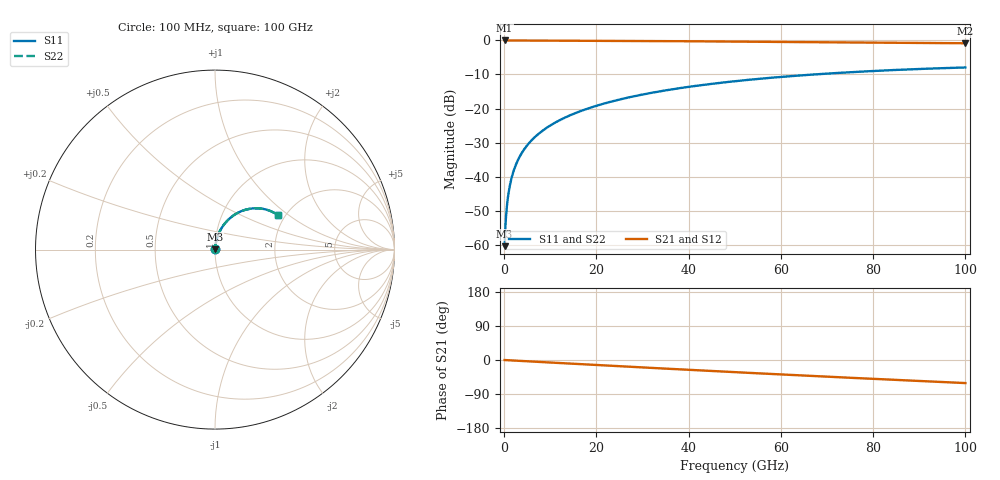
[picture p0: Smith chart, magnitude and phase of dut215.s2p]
! Touchstone file exported from HFSS 2026.1.0
!  File:  C:/ffzhzh/LocalFiles/Ansys_Project_Files/temp_train_RDL_215_1783500915_55944.aedt
!  Generated:  04:56:20 PM Jul  8, 2026
!  Design:  RDL
!  Project:  temp_train_RDL_215_1783500915_55944
! Variables:
!  h_bsmrdl = 2um
!  h_ox = 20um
!  h_rdl = 5um
!  h_sub = 80um
!  h_tmrdl = 4.54um
!  h_tsv = 80um
!  h_via = 3um
!  l_bsmrdl = 300um
!  l_sub = 572.03um
!  l_tmrdl = 172.03um
!  m_sub = 200um
!  pitch = 48.44um
!  r_tsv = 6um
!  s_tmrdl = 10um
!  w_bsmrdl = 18um
!  w_sub = 500um
!  w_tmrdl = 27.43um
!  x_tsv_center1 = 185.745um
!  x_tsv_center2 = 503.745um
!  x_tsv_center3 = 703.205um
!  x_tsv_center4 = 1021.205um
!  x_tsv_center5 = 1220.665um
!  x_tsv_center6 = 1538.665um
# GHz S MA R 50.000000
! Terminal data exported
! Port[1] = TM_RDL1_1_T1
! Port[2] = TM_RDL1_1_T2
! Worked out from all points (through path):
!   1000 points, 100 MHz to 100 GHz, reference 50 ohm
!   highest |S21| = -0.01 dB at 100 MHz (marker M1); lowest = -0.8 dB at 100 GHz (marker M2)
!   group delay of S21, straight-line fit = 1.69 ps
!   lowest |S11| = -60.4 dB at 100 MHz (marker M3), VSWR 1.00, Z = 50.1 + j0.0666 ohm
!   |S11| at or under -10 dB: start of sweep to 67.1 GHz
!   |S22| runs from -60.4 to -7.9 dB; largest |S21 - S12| = 5.3e-15
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0.1  0.0009535 44.3  0.9993 -0.1  0.9993 -0.1  0.0009535 44.3
! Gamma 0 0 0 0
! Port Impedance 50 0 50 0
0.4  0.002588 71.4  0.9992 -0.3  0.9992 -0.3  0.002588 71.4
0.7  0.004285 77.8  0.9991 -0.5  0.9991 -0.5  0.004285 77.8
0.8  0.004859 79.0  0.9991 -0.5  0.9991 -0.5  0.004859 79.0
1.1  0.006593 81.2  0.9991 -0.8  0.9991 -0.8  0.006593 81.2
1.4  0.008336 82.4  0.999 -1.0  0.999 -1.0  0.008336 82.4
1.9  0.01124 83.4  0.9989 -1.3  0.9989 -1.3  0.01124 83.4
2.4  0.01413 83.7  0.9988 -1.6  0.9988 -1.6  0.01413 83.7
3.1  0.01815 83.8  0.9985 -2.1  0.9985 -2.1  0.01815 83.8
3.9  0.0227 83.6  0.9983 -2.6  0.9983 -2.6  0.0227 83.6
4.9  0.02833 83.2  0.9979 -3.3  0.9979 -3.3  0.02833 83.2
6  0.03446 82.7  0.9975 -4.0  0.9975 -4.0  0.03446 82.7
8.8  0.04987 81.3  0.9963 -5.9  0.9963 -5.9  0.04987 81.3
12.4  0.0694 79.3  0.9946 -8.2  0.9946 -8.2  0.0694 79.3
16.8  0.09293 76.8  0.9922 -11.1  0.9922 -11.1  0.09293 76.8
24.2  0.1315 72.3  0.9872 -15.9  0.9872 -15.9  0.1315 72.3
33.4  0.1771 66.7  0.9794 -21.8  0.9794 -21.8  0.1771 66.7
41.2  0.2136 62.0  0.9716 -26.6  0.9716 -26.6  0.2136 62.0
50.1  0.2522 56.6  0.962 -32.1  0.962 -32.1  0.2522 56.6
66.7  0.3149 46.9  0.9429 -42.1  0.9429 -42.1  0.3149 46.9
83.4  0.3648 37.4  0.9244 -51.7  0.9244 -51.7  0.3648 37.4
100  0.4012 28.3  0.909 -60.9  0.909 -60.9  0.4012 28.3
